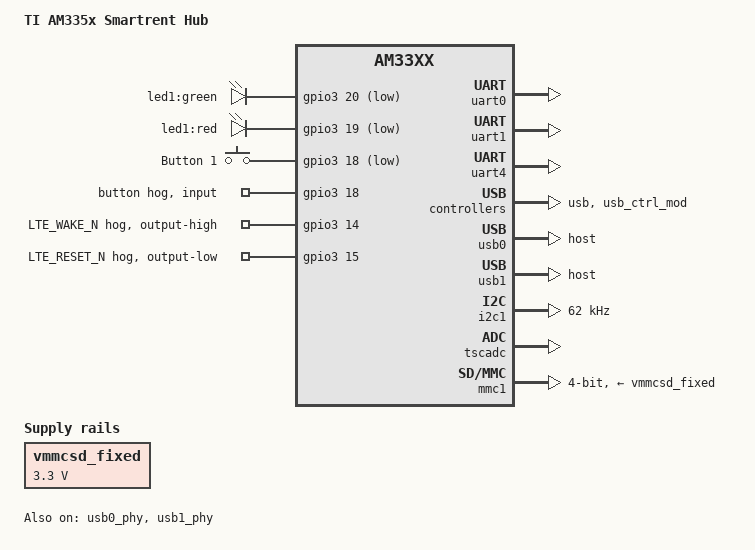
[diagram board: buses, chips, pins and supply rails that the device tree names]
/*
 * Copyright (C) 2018-19 SmartRent
 *
 * This program is free software; you can redistribute it and/or modify
 * it under the terms of the GNU General Public License version 2 as
 * published by the Free Software Foundation.
 */
/dts-v1/;

#include "am33xx.dtsi"
#include "am335x-osd335x-common.dtsi"
#include <dt-bindings/input/input.h>

/ {
	model = "TI AM335x Smartrent Hub";
	compatible = "ti,am335x-pocketbeagle", "ti,am335x-bone", "ti,am33xx";

	chosen {
		stdout-path = &uart0;
	};

        reserved-memory {
                #address-cells = <1>;
                #size-cells = <1>;
                ranges;

                ramoops@88d00000{
                        compatible = "ramoops";
                        reg = <0x88d00000 0x100000>;
                        ecc-size = <16>;
                        record-size     = <0x00020000>;
                        console-size    = <0x00020000>;
                        ftrace-size     = <0>;
                        pmsg-size       = <0x00020000>;
                };
        };

	leds {
		pinctrl-names = "default", "sleep";
		pinctrl-0 = <&user_leds_default>;
		pinctrl-1 = <&user_leds_sleep>;

		compatible = "gpio-leds";

		led@2 {
			label = "led1:green";
			gpios = <&gpio3 20 GPIO_ACTIVE_LOW>;
			linux,default-trigger = "none";
			default-state = "off";
		};

		led@3 {
			label = "led1:red";
			gpios = <&gpio3 19 GPIO_ACTIVE_LOW>;
			linux,default-trigger = "timer";
			default-state = "on";
		};
	};

	buttons {
		compatible = "gpio-keys";

		button@1 {
			label = "Button 1";
			linux,code = <KEY_1>;
			gpios = <&gpio3 18 GPIO_ACTIVE_LOW>;
		};
	};

	vmmcsd_fixed: fixedregulator0 {
		compatible = "regulator-fixed";
		regulator-name = "vmmcsd_fixed";
		regulator-min-microvolt = <3300000>;
		regulator-max-microvolt = <3300000>;
	};
};

&am33xx_pinmux {
	user_leds_default: user_leds_default {
		pinctrl-single,pins = <
			AM33XX_IOPAD(0x09a4, PIN_OUTPUT_PULLUP | MUX_MODE7)	/* mcasp0_fsr.gpio3_19 */
			AM33XX_IOPAD(0x09a8, PIN_OUTPUT_PULLUP | MUX_MODE7)	/* mcasp0_axr1.gpio3_20 */
		>;
	};

	user_leds_sleep: user_leds_sleep {
		pinctrl-single,pins = <
			AM33XX_IOPAD(0x09a4, PIN_INPUT_PULLUP | MUX_MODE7)	/* mcasp0_fsr.gpio3_19 */
			AM33XX_IOPAD(0x09a8, PIN_INPUT_PULLUP | MUX_MODE7)	/* mcasp0_axr1.gpio3_20 */
		>;
	};

	i2c1_pins: pinmux_i2c1_pins {
		/* I2C 1
		 *  - ATECC508A
		 */
		pinctrl-single,pins = <
                        AM33XX_IOPAD(0x0958, PIN_OUTPUT_PULLUP | INPUT_EN | MUX_MODE2)     /* spi0_d1.i2c1_sda */
                        AM33XX_IOPAD(0x095c, PIN_OUTPUT_PULLUP | INPUT_EN | MUX_MODE2)     /* spi0_cs0.i2c1_scl */
		>;
	};

	uart0_pins: pinmux_uart0_pins {
		pinctrl-single,pins = <
			AM33XX_IOPAD(0x0970, PIN_INPUT_PULLUP | MUX_MODE0)	/* uart0_rxd.uart0_rxd */
			AM33XX_IOPAD(0x0974, PIN_OUTPUT_PULLDOWN | MUX_MODE0)	/* uart0_txd.uart0_txd */
		>;
	};

        uart1_pins: pinmux_uart1_pins {
		/* LTE UART on X2B boards */
                pinctrl-single,pins = <
		        AM33XX_IOPAD(0x0980, PIN_INPUT_PULLUP | MUX_MODE0)           /* uart1_rxd.uart1_rxd */
                        AM33XX_IOPAD(0x0984, PIN_OUTPUT_PULLDOWN | MUX_MODE0 )       /* uart1_txd.uart1_txd */
                        AM33XX_IOPAD(0x0978, PIN_INPUT | MUX_MODE0 )                 /* uart1_ctsn.uart1_ctsn */
                        AM33XX_IOPAD(0x097c, PIN_OUTPUT_PULLDOWN | MUX_MODE0 )       /* uart1_rtsn.uart1_rtsn */
                >;
        };

        uart4_pins: pinmux_uart4_pins {
                pinctrl-single,pins = <
		        AM33XX_IOPAD(0x0870, PIN_OUTPUT_PULLUP | INPUT_EN | MUX_MODE6) 	/* gpmc_wait0.uart4_rxd */
		        AM33XX_IOPAD(0x0874, PIN_OUTPUT_PULLUP | INPUT_EN | MUX_MODE6)	/* gpmc_wpn.uart4_txd */
                >;
        };

        zwave_pins: pinmux_zwave_pins {
                pinctrl-single,pins = <
                        AM33XX_IOPAD(0x0830, PIN_INPUT | INPUT_EN | MUX_MODE7)           /* gpmc_ad12.gpio1_12 (Gen3 Z-wave SWCLK) */
                        AM33XX_IOPAD(0x0834, PIN_INPUT | INPUT_EN | MUX_MODE7)           /* gpmc_ad13.gpio1_13 (Gen3 Z-wave SWDIO) */
                        AM33XX_IOPAD(0x083c, PIN_OUTPUT | MUX_MODE7)                     /* gpmc_ad15.gpio1_15 (Gen3 Z-wave ResetN) */
                        AM33XX_IOPAD(0x0878, PIN_OUTPUT | MUX_MODE7)                     /* gpmc_be1n.gpio1_28 (Barebones Z-wave ResetN) */
                >;
        };

        gpio3_pins: pinmux_gpio3_pins {
                pinctrl-single,pins = <
                        AM33XX_IOPAD(0x09a0, PIN_INPUT_PULLDOWN | INPUT_EN | MUX_MODE7)    /* mcasp0_aclkr.gpio3_18 (Button) */
                        AM33XX_IOPAD(0x0990, PIN_OUTPUT_PULLUP | MUX_MODE7)   /* mcasp0_aclkx.gpio3_14 (Gen3 LTE WakeN) */
                        AM33XX_IOPAD(0x0994, PIN_OUTPUT_PULLUP | MUX_MODE7)   /* mcasp0_fsx.gpio3_15 (Gen3 LTE ResetN) */
                >;
        };

        usb0_drvvbus: usb0_drvvbus {
                pinctrl-single,pins = <
                        AM33XX_IOPAD(0xa1c, PIN_OUTPUT_PULLDOWN | MUX_MODE0) /* usb0_drvvbus.usb0_drvvbus */
                >;
        };

        usb1_drvvbus: usb1_drvvbus {
                pinctrl-single,pins = <
                        AM33XX_IOPAD(0xa34, PIN_OUTPUT_PULLDOWN | MUX_MODE0) /* usb1_drvvbus.usb1_drvvbus */
                >;
        };
};


&uart0 {
	status = "okay";
	pinctrl-names = "default";
	pinctrl-0 = <&uart0_pins>;
};

&uart1 {
	status = "okay";
	pinctrl-names = "default";
	pinctrl-0 = <&uart1_pins>;
};

&uart4 {
	status = "okay";
	pinctrl-names = "default";
	pinctrl-0 = <&uart4_pins>;
};

&usb {
	status = "okay";
};

&usb_ctrl_mod {
	status = "okay";
};

&usb0_phy {
	status = "okay";
};

&usb0 {
        pinctrl-names = "default";
        pinctrl-0 = <&usb0_drvvbus>;

	status = "okay";
	dr_mode = "host";
};

&usb1_phy {
	status = "okay";
};

&usb1 {
        pinctrl-names = "default";
        pinctrl-0 = <&usb1_drvvbus>;

	status = "okay";
	dr_mode = "host";
};

&cppi41dma  {
	status = "okay";
};

&i2c1 {
	pinctrl-names = "default";
	pinctrl-0 = <&i2c1_pins>;

	status = "okay";

        /* The ATECC508A requires a wakeup to be used. See the datasheet for
         * for details about holding SDA low. To make this easier, the I2C
         * clock is reduced to ~62KHz.
         */
	clock-frequency = <62000>;
};

&tscadc {
	status = "okay";
	adc {
		ti,adc-channels = <7>;
		ti,chan-step-avg = <0x16>;
		ti,chan-step-opendelay = <0x98>;
		ti,chan-step-sampledelay = <0x0>;
	};
};

&mmc1 {
	status = "okay";
	vmmc-supply = <&vmmcsd_fixed>;
	bus-width = <4>;
/*
	pinctrl-names = "default";
	pinctrl-0 = <&mmc0_pins>;
	cd-gpios = <&gpio0 6 GPIO_ACTIVE_LOW>;*/
};

&wkup_m3_ipc {
	ti,scale-data-fw = "am335x-bone-scale-data.bin";
};

&rtc {
	system-power-controller;
};

&gpio3 {
	pinctrl-names = "default";
	pinctrl-0 = <&gpio3_pins>;

        button {
                gpio-hog;
                gpios = <18>;
                input;
                line-name = "button";
        };

        lte_wake_n {
                /* Initialize high for open-drain to modem since some modems drive wake_n */
                gpio-hog;
                gpios = <14 GPIO_ACTIVE_HIGH>;
                output-high;
                line-name = "LTE_WAKE_N";
        };

        lte_resetn {
                /* Initialize low to put modem in reset */
                gpio-hog;
                gpios = <15 GPIO_ACTIVE_HIGH>;
                output-low;
                line-name = "LTE_RESET_N";
        };
};

